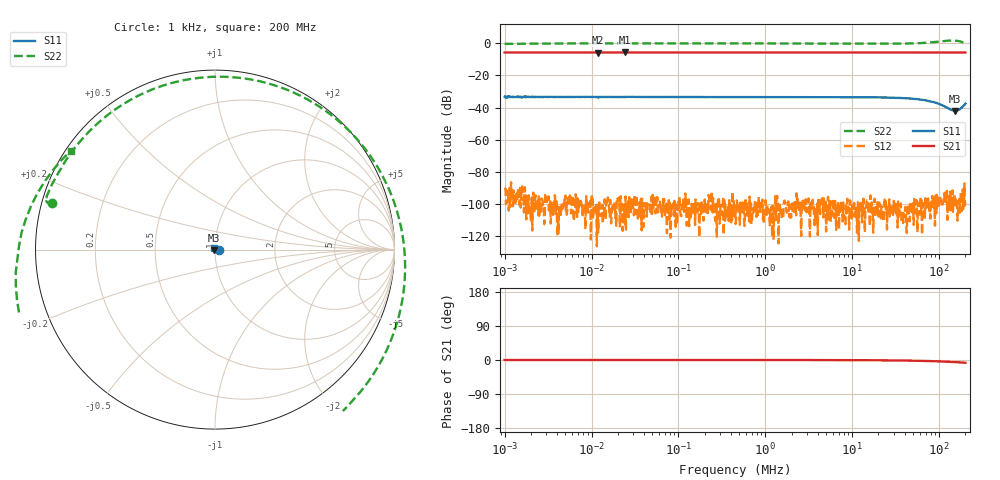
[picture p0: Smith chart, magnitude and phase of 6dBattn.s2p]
! ListType=Log
# MHZ S RI R 50
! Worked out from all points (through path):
!   1000 points, 1 kHz to 200 MHz, reference 50 ohm
!   highest |S21| = -5.79 dB at 23.97 kHz (marker M1); lowest = -5.9 dB at 11.95 kHz (marker M2)
!   group delay of S21, straight-line fit = 101 ps
!   lowest |S11| = -42.1 dB at 152.9 MHz (marker M3), VSWR 1.02, Z = 49.3 - j0.329 ohm
!   |S11| at or under -10 dB: start of sweep to end of sweep
!   |S22| runs from -0.5 to 1.7 dB; largest |S21 - S12| = 0.51
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0.001  0.0213 0.000183  0.5122 1.61e-05  -1.15e-05 -2.99e-05  -0.9089 0.26
0.0076941  0.0214 -0.000125  0.5124 8.28e-05  -2.1e-06 8.4e-06  -0.9422 0.2759
0.011945  0.0203 -0.000378  0.5059 -0.00359  -1.2e-06 6e-07  -0.9435 0.2782
0.0239689  0.021 8.1e-06  0.5136 0.000734  -3.4e-06 -2.8e-06  -0.9432 0.2849
0.0584804  0.0213 -5.15e-05  0.5124 2.29e-05  1.1e-06 -7.5e-06  -0.9406 0.2882
0.4499541  0.0211 -0.000241  0.5124 -0.000137  1.8e-06 7.1e-06  -0.9349 0.303
3.419952  0.021 -0.000892  0.5123 -0.00115  -1.8e-06 -7.2e-06  -0.8867 0.4028
12.03851  0.0208 -0.00288  0.5123 -0.00394  -7.5e-06 -3e-07  -0.7122 0.6466
18.46267  0.0202 -0.00439  0.5122 -0.00604  1.7e-06 -4.3e-06  -0.5466 0.7874
26.31347  0.0195 -0.0061  0.5122 -0.00859  3.6e-06 -3.5e-06  -0.3118 0.9064
38.90281  0.0177 -0.00851  0.512 -0.0127  3.2e-06 4.1e-06  0.104 0.96
52.15945  0.0152 -0.0108  0.5119 -0.0169  7e-07 -1.11e-05  0.5302 0.8281
67.41648  0.0118 -0.0124  0.5117 -0.0219  2.4e-06 -9.8e-06  0.9034 0.4633
86.07812  0.007 -0.013  0.5114 -0.028  2.9e-06 -1.01e-05  1.057 -0.1695
103.3922  0.0026 -0.0122  0.511 -0.0336  -9.6e-06 -1.12e-05  0.8402 -0.7545
122.6808  -0.00199 -0.00987  0.5105 -0.0398  -1.86e-05 -1.83e-05  0.2579 -1.156
136.941  -0.00474 -0.00721  0.5101 -0.0445  -9.3e-06 -1.37e-05  -0.2718 -1.174
152.8589  -0.0071 -0.00333  0.5095 -0.0495  -1.3e-06 -9.2e-06  -0.7884 -0.9024
164.4859  -0.00833 -0.000232  0.5091 -0.0533  4.6e-06 -3.3e-06  -1.028 -0.5582
174.8478  -0.00885 0.00257  0.5086 -0.0566  6.1e-06 -3.6e-06  -1.109 -0.2033
190.4604  -0.00849 0.00745  0.5079 -0.0616  -2.41e-05 -1.66e-05  -0.9929 0.3077
200  -0.00827 0.0103  0.5073 -0.0648  -1.29e-05 -6.6e-06  -0.8026 0.5506
